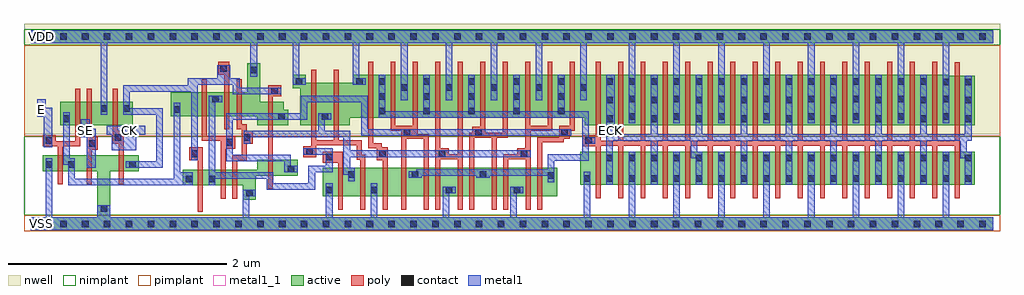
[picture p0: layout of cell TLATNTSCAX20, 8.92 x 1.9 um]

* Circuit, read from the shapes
.subckt TLATNTSCAX20 CK E ECK SE VDD VSS
M1 n1 E VSS VSS nfet w=0.145u l=0.045u
M2 VSS SE n1 VSS nfet w=0.145u l=0.045u
M3 n2 CK VSS VSS nfet w=0.145u l=0.045u
M4 n3 n2 n1 VSS nfet w=0.145u l=0.045u
M5 n4 n5 n3 VSS nfet w=0.145u l=0.045u
M6 VSS n6 n4 VSS nfet w=0.145u l=0.045u
M7 n5 n2 VSS VSS nfet w=0.145u l=0.045u
M8 n6 n3 VSS VSS nfet w=0.26u l=0.045u m=2
M9 n7 n6 VSS VSS nfet w=0.26u l=0.045u
M10 n8 n5 n7 VSS nfet w=0.26u l=0.045u
M11 n9 n5 n8 VSS nfet w=0.26u l=0.045u
M12 VSS n6 n9 VSS nfet w=0.26u l=0.045u
M13 n10 n6 VSS VSS nfet w=0.26u l=0.045u
M14 n8 n5 n10 VSS nfet w=0.26u l=0.045u
M15 n11 n5 n8 VSS nfet w=0.26u l=0.045u
M16 VSS n6 n11 VSS nfet w=0.26u l=0.045u
M17 n12 n6 VSS VSS nfet w=0.26u l=0.045u
M18 n8 n5 n12 VSS nfet w=0.26u l=0.045u
M19 ECK n8 VSS VSS nfet w=0.305u l=0.045u m=17
M20 n13 E n1 VDD pfet w=0.215u l=0.045u
M21 VDD SE n13 VDD pfet w=0.215u l=0.045u
M22 n2 CK VDD VDD pfet w=0.215u l=0.045u
M23 n3 n5 n1 VDD pfet w=0.215u l=0.045u
M24 n14 n2 n3 VDD pfet w=0.215u l=0.045u
M25 VDD n6 n14 VDD pfet w=0.215u l=0.045u
M26 n5 n2 VDD VDD pfet w=0.215u l=0.045u
M27 n6 n3 VDD VDD pfet w=0.39u l=0.045u m=2
M28 n8 n6 VDD VDD pfet w=0.39u l=0.045u m=5
M29 VDD n5 n8 VDD pfet w=0.39u l=0.045u m=5
M30 ECK n8 VDD VDD pfet w=0.46u l=0.045u m=16
M31 ECK n8 VDD VDD pfet w=0.455u l=0.045u
.ends

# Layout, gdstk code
import gdstk
lib = gdstk.Library(unit=1e-6, precision=5e-10)
def R(c, l, rs):  # rectangles x0, y0, x1, y1
    for r in rs: c.add(gdstk.rectangle(r[:2], r[2:], *l))
def A(c, l, x, y, w, h, nx, ny, dx, dy):  # array of equal rectangles
    R(c, l, [(x+i*dx, y+j*dy, x+i*dx+w, y+j*dy+h) for i in range(nx) for j in range(ny)])
def P(c, l, *ps):  # polygons
    for p in ps: c.add(gdstk.Polygon(p, *l))
active = (1, 0)
nwell = (2, 0)
poly = (3, 0)
nimplant = (4, 0)
pimplant = (5, 0)
contact = (6, 0)
metal1 = (7, 0)
metal1_1 = (7, 1)

tlatntscax20 = lib.new_cell('TLATNTSCAX20')
R(tlatntscax20, active, [(2.67,0.25,4.815,0.51), (5.025,0.355,8.63,0.66), (0.27,0.9,0.935,1.115), (0,1.65,8.8,1.77)])
P(tlatntscax20, active, [(1.98,1.465),(2.1,1.465),(2.1,1.115),(2.315,1.115),(2.315,1.04),(2.355,1.04),(2.355,0.9),(2.07,0.9),(2.07,0.985),(1.28,0.985),(1.28,1.2),(1.98,1.2)],
  [(2.395,1.36),(2.515,1.36),(2.515,1.29),(2.945,1.29),(2.945,1.36),(8.385,1.36),(8.385,1.355),(8.63,1.355),(8.63,0.9),(5.065,0.9),(5.065,0.97),(2.915,0.97),(2.915,0.9),(2.465,0.9),(2.465,1.24),(2.395,1.24)],
  [(0.11,0.625),(0.99,0.625),(0.99,0.48),(0.73,0.48),(0.73,0.06),(8.8,0.06),(8.8,-0.06),(0,-0.06),(0,0.06),(0.61,0.06),(0.61,0.48),(0.11,0.48)],
  [(2.07,0.585),(2.44,0.585),(2.44,0.44),(2.06,0.44),(2.06,0.22),(1.94,0.22),(1.94,0.35),(1.39,0.35),(1.39,0.495),(2.07,0.495)])
R(tlatntscax20, nwell, [(-0.06,0.82,8.86,1.83)])
P(tlatntscax20, poly, [(1.715,1.48),(1.815,1.48),(1.815,0.865),(1.77,0.865),(1.77,1.36),(1.715,1.36)],
  [(1.565,1.32),(1.61,1.32),(1.61,0.805),(1.87,0.805),(1.87,0.685),(1.785,0.685),(1.785,0.23),(1.74,0.23),(1.74,0.76),(1.565,0.76)],
  [(1.885,1.32),(1.93,1.32),(1.93,0.91),(1.975,0.91),(1.975,0.85),(2.03,0.85),(2.03,0.73),(1.975,0.73),(1.975,0.58),(1.89,0.58),(1.89,0.23),(1.845,0.23),(1.845,0.625),(1.93,0.625),(1.93,0.865),(1.885,0.865)],
  [(0.11,0.81),(0.23,0.81),(0.23,0.755),(0.41,0.755),(0.41,1.235),(0.455,1.235),(0.455,0.71),(0.295,0.71),(0.295,0.36),(0.25,0.36),(0.25,0.71),(0.11,0.71)],
  [(0.515,1.235),(0.56,1.235),(0.56,0.795),(0.615,0.795),(0.615,0.675),(0.56,0.675),(0.56,0.36),(0.515,0.36)],
  [(0.75,1.235),(0.795,1.235),(0.795,0.85),(0.85,0.85),(0.85,0.36),(0.805,0.36),(0.805,0.73),(0.75,0.73)],
  [(2.17,1.265),(2.29,1.265),(2.29,1.165),(2.215,1.165),(2.215,0.32),(2.17,0.32)],
  [(2.565,1.41),(2.61,1.41),(2.61,0.765),(2.77,0.765),(2.77,1.41),(2.815,1.41),(2.815,0.765),(3.025,0.765),(3.025,0.63),(3.06,0.63),(3.06,0.13),(3.015,0.13),(3.015,0.585),(2.98,0.585),(2.98,0.72),(2.61,0.72),(2.61,0.61),(2.49,0.61),(2.49,0.71),(2.565,0.71)],
  [(3.085,1.48),(3.13,1.48),(3.13,0.735),(3.21,0.735),(3.21,0.7),(3.265,0.7),(3.265,0.13),(3.22,0.13),(3.22,0.58),(3.165,0.58),(3.165,0.69),(3.085,0.69)],
  [(3.29,1.48),(3.335,1.48),(3.335,0.895),(3.495,0.895),(3.495,1.48),(3.54,1.48),(3.54,0.82),(3.64,0.82),(3.64,0.13),(3.595,0.13),(3.595,0.775),(3.435,0.775),(3.435,0.13),(3.39,0.13),(3.39,0.85),(3.29,0.85)],
  [(3.7,1.48),(3.745,1.48),(3.745,0.69),(3.82,0.69),(3.82,0.635),(3.905,0.635),(3.905,1.48),(3.95,1.48),(3.95,0.13),(3.905,0.13),(3.905,0.59),(3.745,0.59),(3.745,0.13),(3.7,0.13)],
  [(4.11,1.48),(4.155,1.48),(4.155,0.83),(4.315,0.83),(4.315,1.48),(4.36,1.48),(4.36,0.785),(4.26,0.785),(4.26,0.13),(4.215,0.13),(4.215,0.785),(4.055,0.785),(4.055,0.13),(4.01,0.13),(4.01,0.83),(4.035,0.83),(4.035,0.885),(4.11,0.885)],
  [(4.52,1.48),(4.565,1.48),(4.565,0.895),(4.725,0.895),(4.725,1.48),(4.77,1.48),(4.77,0.85),(4.57,0.85),(4.57,0.13),(4.525,0.13),(4.525,0.59),(4.365,0.59),(4.365,0.13),(4.32,0.13),(4.32,0.635),(4.45,0.635),(4.45,0.69),(4.52,0.69)],
  [(4.93,1.48),(4.975,1.48),(4.975,0.85),(4.93,0.85),(4.93,0.775),(4.875,0.775),(4.875,0.745),(4.675,0.745),(4.675,0.13),(4.63,0.13),(4.63,0.79),(4.83,0.79),(4.83,0.895),(4.93,0.895)],
  [(5.165,1.48),(5.21,1.48),(5.21,0.76),(5.37,0.76),(5.37,1.48),(5.415,1.48),(5.415,0.76),(5.575,0.76),(5.575,1.48),(5.62,1.48),(5.62,0.76),(5.78,0.76),(5.78,1.48),(5.825,1.48),(5.825,0.76),(5.985,0.76),(5.985,1.48),(6.03,1.48),(6.03,0.76),(6.19,0.76),(6.19,1.48),(6.235,1.48),(6.235,0.76),(6.395,0.76),(6.395,1.48),(6.44,1.48),(6.44,0.76),(6.6,0.76),(6.6,1.48),(6.645,1.48),(6.645,0.76),(6.805,0.76),(6.805,1.48),(6.85,1.48),(6.85,0.76),(7.01,0.76),(7.01,1.48),(7.055,1.48),(7.055,0.76),(7.215,0.76),(7.215,1.48),(7.26,1.48),(7.26,0.76),(7.42,0.76),(7.42,1.48),(7.465,1.48),(7.465,0.76),(7.625,0.76),(7.625,1.48),(7.67,1.48),(7.67,0.76),(7.83,0.76),(7.83,1.48),(7.875,1.48),(7.875,0.76),(8.035,0.76),(8.035,1.48),(8.08,1.48),(8.08,0.76),(8.24,0.76),(8.24,1.48),(8.285,1.48),(8.285,0.76),(8.445,0.76),(8.445,1.475),(8.49,1.475),(8.49,0.235),(8.445,0.235),(8.445,0.715),(8.285,0.715),(8.285,0.235),(8.24,0.235),(8.24,0.715),(8.08,0.715),(8.08,0.235),(8.035,0.235),(8.035,0.715),(7.875,0.715),(7.875,0.235),(7.83,0.235),(7.83,0.715),(7.67,0.715),(7.67,0.235),(7.625,0.235),(7.625,0.715),(7.465,0.715),(7.465,0.235),(7.42,0.235),(7.42,0.715),(7.26,0.715),(7.26,0.235),(7.215,0.235),(7.215,0.715),(7.055,0.715),(7.055,0.235),(7.01,0.235),(7.01,0.715),(6.85,0.715),(6.85,0.235),(6.805,0.235),(6.805,0.715),(6.645,0.715),(6.645,0.235),(6.6,0.235),(6.6,0.715),(6.44,0.715),(6.44,0.235),(6.395,0.235),(6.395,0.715),(6.235,0.715),(6.235,0.235),(6.19,0.235),(6.19,0.715),(6.03,0.715),(6.03,0.235),(5.985,0.235),(5.985,0.715),(5.825,0.715),(5.825,0.235),(5.78,0.235),(5.78,0.715),(5.62,0.715),(5.62,0.235),(5.575,0.235),(5.575,0.715),(5.415,0.715),(5.415,0.235),(5.37,0.235),(5.37,0.715),(5.21,0.715),(5.21,0.235),(5.165,0.235),(5.165,0.71),(5.04,0.71),(5.04,0.81),(5.165,0.81)],
  [(1.45,0.7),(1.575,0.7),(1.575,0.11),(1.53,0.11),(1.53,0.58),(1.45,0.58)],
  [(2.67,0.66),(2.855,0.66),(2.855,0.13),(2.81,0.13),(2.81,0.56),(2.67,0.56)])
R(tlatntscax20, nimplant, [(-0.06,0.08,8.86,0.8), (-0.06,1.63,8.86,1.78)])
R(tlatntscax20, pimplant, [(-0.06,-0.07,8.86,0.08), (-0.06,0.8,8.86,1.63)])
A(tlatntscax20, contact, 0.07, -0.03, 0.06, 0.06, 44, 2, 0.2, 1.71)
A(tlatntscax20, contact, 5.055, 0.385, 0.06, 0.06, 18, 1, 0.205, 0)
A(tlatntscax20, contact, 5.26, 0.57, 0.06, 0.06, 17, 1, 0.205, 0)
A(tlatntscax20, contact, 5.26, 0.93, 0.06, 0.06, 9, 2, 0.41, 0.17)
A(tlatntscax20, contact, 5.465, 0.95, 0.06, 0.06, 8, 2, 0.41, 0.16)
A(tlatntscax20, contact, 3.18, 1, 0.06, 0.06, 5, 3, 0.41, 0.135)
A(tlatntscax20, contact, 3.385, 1.215, 0.06, 0.06, 5, 1, 0.41, 0)
A(tlatntscax20, contact, 5.26, 1.27, 0.06, 0.06, 15, 1, 0.205, 0)
R(tlatntscax20, contact, [(0.64,0.11,0.7,0.17), (1.97,0.25,2.03,0.31), (2.7,0.28,2.76,0.34), (3.11,0.28,3.17,0.34), (3.795,0.28,3.855,0.34), (4.415,0.28,4.475,0.34), (1.42,0.38,1.48,0.44), (1.63,0.38,1.69,0.44), (4.725,0.41,4.785,0.47), (2.905,0.42,2.965,0.48), (3.485,0.42,3.545,0.48), (4.105,0.42,4.165,0.48), (2.35,0.47,2.41,0.53), (0.14,0.51,0.2,0.57), (0.345,0.51,0.405,0.57), (0.9,0.51,0.96,0.57), (2.7,0.58,2.76,0.64), (1.47,0.61,1.53,0.67), (3.185,0.61,3.245,0.67), (3.73,0.61,3.79,0.67), (4.48,0.61,4.54,0.67), (2.52,0.63,2.58,0.69), (0.535,0.705,0.595,0.765), (1.79,0.715,1.85,0.775), (0.14,0.73,0.2,0.79), (5.07,0.73,5.13,0.79), (0.77,0.76,0.83,0.82), (1.95,0.76,2.01,0.82), (3.41,0.805,3.47,0.865), (4.065,0.805,4.125,0.865), (4.85,0.805,4.91,0.865), (0.3,0.93,0.36,0.99), (2.265,0.95,2.325,1.01), (2.66,0.95,2.72,1.01), (1.31,1.015,1.37,1.075), (0.64,1.025,0.7,1.085), (0.845,1.025,0.905,1.085), (1.66,1.11,1.72,1.17), (2.2,1.185,2.26,1.245), (8.335,1.265,8.395,1.325), (8.54,1.265,8.6,1.325), (2.425,1.27,2.485,1.33), (2.975,1.27,3.035,1.33), (2.01,1.375,2.07,1.435), (1.735,1.39,1.795,1.45)])
P(tlatntscax20, metal1, [(0,1.77),(8.8,1.77),(8.8,1.65),(8.395,1.65),(8.395,0.92),(8.335,0.92),(8.335,1.65),(7.985,1.65),(7.985,0.92),(7.925,0.92),(7.925,1.65),(7.575,1.65),(7.575,0.92),(7.515,0.92),(7.515,1.65),(7.165,1.65),(7.165,0.92),(7.105,0.92),(7.105,1.65),(6.755,1.65),(6.755,0.92),(6.695,0.92),(6.695,1.65),(6.345,1.65),(6.345,0.92),(6.285,0.92),(6.285,1.65),(5.935,1.65),(5.935,0.92),(5.875,0.92),(5.875,1.65),(5.525,1.65),(5.525,0.92),(5.465,0.92),(5.465,1.65),(5.085,1.65),(5.085,1.13),(5.025,1.13),(5.025,1.65),(4.675,1.65),(4.675,1.13),(4.615,1.13),(4.615,1.65),(4.265,1.65),(4.265,1.13),(4.205,1.13),(4.205,1.65),(3.855,1.65),(3.855,1.13),(3.795,1.13),(3.795,1.65),(3.445,1.65),(3.445,1.13),(3.385,1.13),(3.385,1.65),(3.005,1.65),(3.005,1.33),(3.065,1.33),(3.065,1.27),(2.945,1.27),(2.945,1.65),(2.455,1.65),(2.455,1.33),(2.515,1.33),(2.515,1.27),(2.395,1.27),(2.395,1.65),(2.07,1.65),(2.07,1.345),(2.01,1.345),(2.01,1.65),(0.7,1.65),(0.7,0.995),(0.64,0.995),(0.64,1.65),(0,1.65)],
  [(0.3,1.02),(0.36,1.02),(0.36,0.6),(0.405,0.6),(0.405,0.41),(1.31,0.41),(1.31,1.105),(1.37,1.105),(1.37,0.47),(1.48,0.47),(1.48,0.35),(0.345,0.35),(0.345,0.54),(0.3,0.54)],
  [(1.705,1.45),(1.825,1.45),(1.825,1.33),(1.91,1.33),(1.91,1.245),(2.29,1.245),(2.29,1.185),(1.85,1.185),(1.85,1.27),(1.53,1.27),(1.53,0.58),(1.47,0.58),(1.47,1.205),(0.905,1.205),(0.905,1.055),(1.21,1.055),(1.21,0.51),(0.87,0.51),(0.87,0.57),(1.15,0.57),(1.15,0.995),(0.845,0.995),(0.845,1.265),(1.435,1.265),(1.435,1.33),(1.705,1.33)],
  [(0.06,1.14),(0.14,1.14),(0.14,1.06),(0.2,1.06),(0.2,0.7),(0.12,0.7),(0.12,0.98),(0.06,0.98)],
  [(0.46,0.955),(0.54,0.955),(0.54,0.87),(0.595,0.87),(0.595,0.51),(0.515,0.51),(0.515,0.79),(0.46,0.79)],
  [(0.695,0.895),(1.05,0.895),(1.05,0.815),(0.965,0.815),(0.965,0.67),(0.74,0.67),(0.74,0.815),(0.695,0.815)],
  [(0.14,0.6),(0.2,0.6),(0.2,0.06),(0.61,0.06),(0.61,0.17),(0.73,0.17),(0.73,0.06),(1.94,0.06),(1.94,0.31),(2.06,0.31),(2.06,0.25),(2,0.25),(2,0.06),(2.7,0.06),(2.7,0.37),(2.76,0.37),(2.76,0.06),(3.11,0.06),(3.11,0.37),(3.17,0.37),(3.17,0.06),(3.765,0.06),(3.765,0.34),(3.885,0.34),(3.885,0.28),(3.825,0.28),(3.825,0.06),(4.385,0.06),(4.385,0.34),(4.505,0.34),(4.505,0.28),(4.445,0.28),(4.445,0.06),(5.055,0.06),(5.055,0.475),(5.115,0.475),(5.115,0.06),(5.465,0.06),(5.465,0.66),(5.525,0.66),(5.525,0.06),(5.875,0.06),(5.875,0.66),(5.935,0.66),(5.935,0.06),(6.285,0.06),(6.285,0.66),(6.345,0.66),(6.345,0.06),(6.695,0.06),(6.695,0.66),(6.755,0.66),(6.755,0.06),(7.105,0.06),(7.105,0.66),(7.165,0.66),(7.165,0.06),(7.515,0.06),(7.515,0.66),(7.575,0.66),(7.575,0.06),(7.925,0.06),(7.925,0.66),(7.985,0.66),(7.985,0.06),(8.335,0.06),(8.335,0.66),(8.395,0.66),(8.395,0.06),(8.8,0.06),(8.8,-0.06),(0,-0.06),(0,0.06),(0.14,0.06)],
  [(3.18,1.36),(3.24,1.36),(3.24,1.03),(3.59,1.03),(3.59,1.36),(3.65,1.36),(3.65,1.03),(4,1.03),(4,1.36),(4.06,1.36),(4.06,1.03),(4.41,1.03),(4.41,1.36),(4.47,1.36),(4.47,1.03),(4.82,1.03),(4.82,1.36),(4.88,1.36),(4.88,1.03),(5.1,1.03),(5.1,0.79),(5.16,0.79),(5.16,0.73),(5.1,0.73),(5.1,0.575),(4.785,0.575),(4.785,0.38),(4.725,0.38),(4.725,0.44),(4.195,0.44),(4.195,0.42),(4.075,0.42),(4.075,0.44),(3.575,0.44),(3.575,0.42),(3.455,0.42),(3.455,0.48),(3.525,0.48),(3.525,0.5),(4.725,0.5),(4.725,0.635),(5.04,0.635),(5.04,0.97),(3.18,0.97)],
  [(1.63,1.17),(1.75,1.17),(1.75,1.11),(1.69,1.11),(1.69,0.47),(2.22,0.47),(2.22,0.37),(2.54,0.37),(2.54,0.53),(2.7,0.53),(2.7,0.63),(2.49,0.63),(2.49,0.69),(2.76,0.69),(2.76,0.47),(2.6,0.47),(2.6,0.31),(2.16,0.31),(2.16,0.41),(1.69,0.41),(1.69,0.35),(1.63,0.35)],
  [(2.47,1.17),(3.08,1.17),(3.08,0.865),(4.94,0.865),(4.94,0.805),(3.02,0.805),(3.02,1.11),(2.53,1.11),(2.53,0.95),(1.85,0.95),(1.85,0.63),(2.38,0.63),(2.38,0.53),(2.44,0.53),(2.44,0.47),(2.32,0.47),(2.32,0.57),(1.79,0.57),(1.79,1.01),(2.47,1.01)],
  [(2.63,1.01),(2.75,1.01),(2.75,0.95),(2.69,0.95),(2.69,0.85),(2.92,0.85),(2.92,0.67),(4.57,0.67),(4.57,0.61),(2.92,0.61),(2.92,0.51),(2.965,0.51),(2.965,0.39),(2.905,0.39),(2.905,0.45),(2.86,0.45),(2.86,0.79),(2.01,0.79),(2.01,0.73),(1.95,0.73),(1.95,0.85),(2.63,0.85)],
  [(5.26,1.36),(5.34,1.36),(5.34,0.82),(5.67,0.82),(5.67,1.36),(5.73,1.36),(5.73,0.82),(6.08,0.82),(6.08,1.36),(6.14,1.36),(6.14,0.82),(6.49,0.82),(6.49,1.36),(6.55,1.36),(6.55,0.82),(6.9,0.82),(6.9,1.36),(6.96,1.36),(6.96,0.82),(7.31,0.82),(7.31,1.36),(7.37,1.36),(7.37,0.82),(7.72,0.82),(7.72,1.36),(7.78,1.36),(7.78,0.82),(8.13,0.82),(8.13,1.36),(8.19,1.36),(8.19,0.82),(8.54,0.82),(8.54,1.355),(8.6,1.355),(8.6,0.76),(8.555,0.76),(8.555,0.66),(8.6,0.66),(8.6,0.355),(8.54,0.355),(8.54,0.6),(8.495,0.6),(8.495,0.76),(8.19,0.76),(8.19,0.355),(8.13,0.355),(8.13,0.76),(7.78,0.76),(7.78,0.355),(7.72,0.355),(7.72,0.76),(7.37,0.76),(7.37,0.355),(7.31,0.355),(7.31,0.76),(6.96,0.76),(6.96,0.355),(6.9,0.355),(6.9,0.76),(6.55,0.76),(6.55,0.355),(6.49,0.355),(6.49,0.76),(6.095,0.76),(6.095,0.66),(6.14,0.66),(6.14,0.355),(6.08,0.355),(6.08,0.6),(6.035,0.6),(6.035,0.76),(5.73,0.76),(5.73,0.355),(5.67,0.355),(5.67,0.76),(5.32,0.76),(5.32,0.355),(5.26,0.355)])
R(tlatntscax20, metal1_1, [(0.06,-0.04,0.14,0.04), (0.46,0.815,0.54,0.895), (0.86,0.815,0.94,0.895), (5.26,0.815,5.34,0.895), (0.06,1.005,0.14,1.085), (0.06,1.67,0.14,1.75)])
tlatntscax20.add(gdstk.Label('ECK', (5.3,0.855), layer=7, texttype=1))
tlatntscax20.add(gdstk.Label('CK', (0.9,0.855), layer=7, texttype=1))
tlatntscax20.add(gdstk.Label('SE', (0.5,0.855), layer=7, texttype=1))
tlatntscax20.add(gdstk.Label('E', (0.1,1.045), layer=7, texttype=1))
tlatntscax20.add(gdstk.Label('VDD', (0.1,1.71), layer=7, texttype=1))
tlatntscax20.add(gdstk.Label('VSS', (0.1,0), layer=7, texttype=1))
tlatntscax20.add(gdstk.Label('TLATNTSCAX20', (0,0), layer=63, texttype=0))

lib.write_gds('TLATNTSCAX20.gds')
